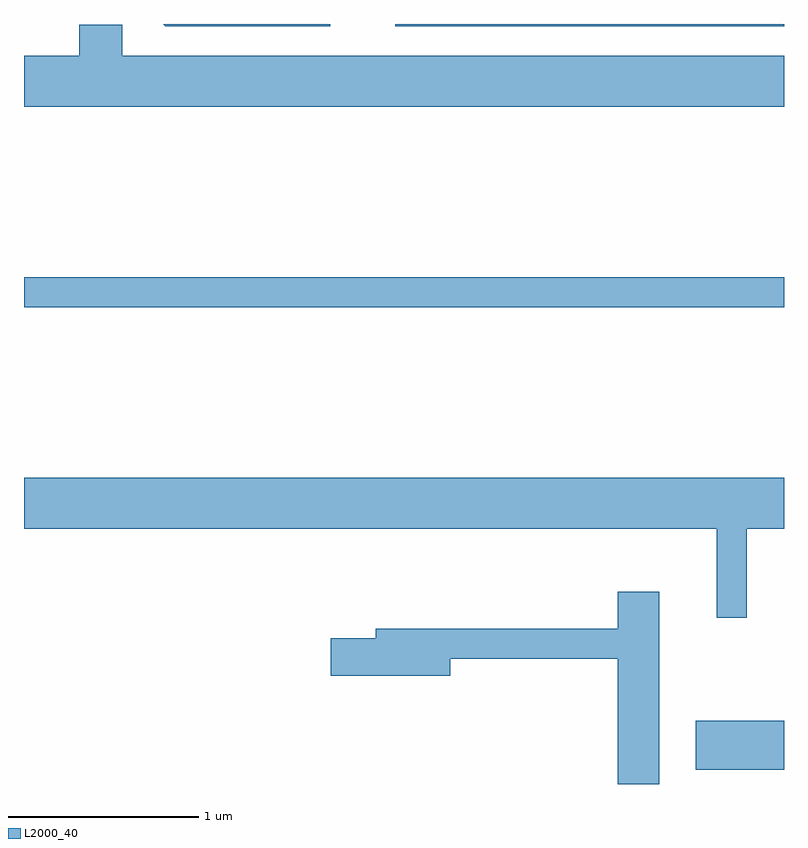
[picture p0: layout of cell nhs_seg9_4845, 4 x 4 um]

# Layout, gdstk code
import gdstk
lib = gdstk.Library(unit=1e-6, precision=1e-09)
def R(c, l, rs):  # rectangles x0, y0, x1, y1
    for r in rs: c.add(gdstk.rectangle(r[:2], r[2:], *l))
def P(c, l, *ps):  # polygons
    for p in ps: c.add(gdstk.Polygon(p, *l))
L2000_40 = (2000, 40)

nhs_seg9_4845 = lib.new_cell('nhs_seg9_4845')
R(nhs_seg9_4845, L2000_40, [(331.146,2030.506,331.611,2030.764), (327.611,2032.941,331.611,2033.099), (329.566,2034.421,331.611,2034.432)])
P(nhs_seg9_4845, L2000_40, [(329.224,2034.432),(328.343,2034.432),(328.354,2034.421),(329.224,2034.421)],
  [(331.611,2034.264),(328.129,2034.264),(328.129,2034.429),(327.901,2034.429),(327.901,2034.264),(327.611,2034.264),(327.611,2033.996),(331.611,2033.996)],
  [(331.414,2031.776),(331.611,2031.776),(331.611,2032.044),(327.611,2032.044),(327.611,2031.776),(331.256,2031.776),(331.256,2031.308),(331.414,2031.308)],
  [(330.954,2031.444),(330.736,2031.444),(330.736,2031.249),(329.461,2031.249),(329.461,2031.199),(329.226,2031.199),(329.226,2031.001),(329.854,2031.001),(329.854,2031.091),(330.736,2031.091),(330.736,2030.432),(330.954,2030.432)])

lib.write_gds('nhs_seg9_4845.gds')
